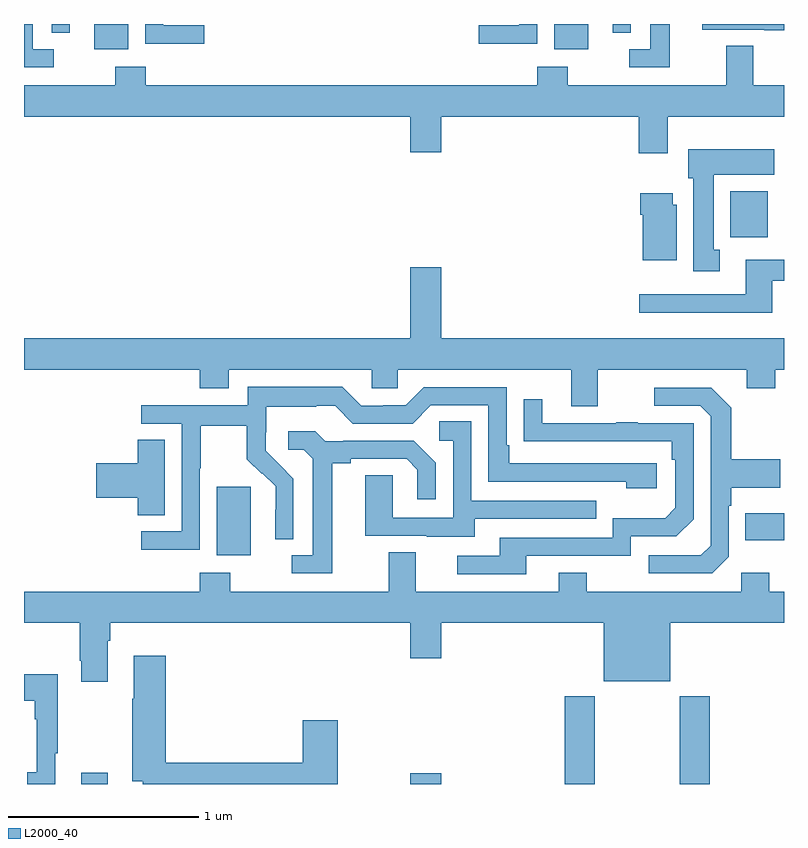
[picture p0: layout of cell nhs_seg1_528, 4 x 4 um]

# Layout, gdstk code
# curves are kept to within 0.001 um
import gdstk
lib = gdstk.Library(unit=1e-6, precision=1e-09)
def R(c, l, rs):  # rectangles x0, y0, x1, y1
    for r in rs: c.add(gdstk.rectangle(r[:2], r[2:], *l))
def P(c, l, *ps):  # polygons
    for p in ps: c.add(gdstk.Polygon(p, *l))
L2000_40 = (2000, 40)

nhs_seg1_528 = lib.new_cell('nhs_seg1_528')
R(nhs_seg1_528, L2000_40, [(139.301,568.199,139.441,568.258), (141.032,568.199,141.196,568.255), (141.845,568.199,142.005,568.66), (142.45,568.199,142.61,568.66), (140.015,569.402,140.194,569.763), (142.795,569.483,143,569.623), (142.718,571.076,142.915,571.318), (139.37,572.066,139.549,572.199), (141.791,572.066,141.97,572.199), (139.146,572.152,139.242,572.199), (142.098,572.152,142.194,572.199)])
P(nhs_seg1_528, L2000_40, [(141.702,572.199),(141.606,572.199),(141.606,572.193),(141.393,572.193),(141.393,572.095),(141.702,572.095)],
  [(139.156,572.067),(139.045,572.067),(139.045,572.199),(139,572.199),(139,571.971),(139.156,571.971)],
  [(139.948,572.193),(139.734,572.193),(139.734,572.199),(139.638,572.199),(139.638,572.095),(139.948,572.095)],
  [(142.399,572.199),(142.295,572.199),(142.295,572.067),(142.185,572.067),(142.185,571.971),(142.399,571.971)],
  [(143,572.199),(142.571,572.199),(142.571,572.169),(142.895,572.169),(142.895,572.165),(143,572.165)],
  [(142.387,571.712),(143,571.712),(143,571.876),(142.837,571.876),(142.837,572.084),(142.697,572.084),(142.697,571.876),(141.861,571.876),(141.861,571.975),(141.701,571.975),(141.701,571.876),(139.64,571.876),(139.64,571.975),(139.48,571.975),(139.48,571.876),(139,571.876),(139,571.712),(141.032,571.712),(141.032,571.524),(141.196,571.524),(141.196,571.712),(142.235,571.712),(142.235,571.518),(142.387,571.518)],
  [(142.663,571.01),(142.63,571.01),(142.63,571.406),(142.948,571.406),(142.948,571.54),(142.496,571.54),(142.496,571.386),(142.523,571.386),(142.523,570.897),(142.663,570.897)],
  [(142.435,571.248),(142.414,571.248),(142.414,571.309),(142.244,571.309),(142.244,571.196),(142.256,571.196),(142.256,570.956),(142.435,570.956)],
  [(142.939,570.849),(143,570.849),(143,570.958),(142.799,570.958),(142.799,570.777),(142.239,570.777),(142.239,570.68),(142.939,570.68)],
  [(142.021,570.38),(142.805,570.38),(142.805,570.281),(142.953,570.281),(142.953,570.38),(143,570.38),(143,570.544),(141.196,570.544),(141.196,570.919),(141.032,570.919),(141.032,570.544),(139,570.544),(139,570.38),(139.925,570.38),(139.925,570.281),(140.077,570.281),(140.077,570.38),(140.829,570.38),(140.829,570.282),(140.967,570.282),(140.967,570.38),(141.881,570.38),(141.881,570.186),(142.021,570.186)],
  [(139.926,569.86),(139.929,569.86),(139.929,570.084),(140.173,570.084),(140.173,569.909),(140.25,569.832),(140.253,569.835),(140.324,569.765),(140.324,569.642),(140.322,569.642),(140.322,569.488),(140.418,569.488),(140.418,569.806),(140.272,569.954),(140.272,570.051),(140.274,570.051),(140.274,570.185),(140.537,570.185),(140.537,570.189),(140.637,570.189),(140.73,570.096),(141.045,570.096),(141.141,570.192),(141.444,570.192),(141.444,569.79),(142.169,569.79),(142.169,569.756),(142.33,569.756),(142.33,569.886),(141.553,569.886),(141.553,569.983),(141.54,569.983),(141.54,570.288),(141.105,570.288),(141.009,570.192),(140.891,570.192),(140.891,570.189),(140.775,570.189),(140.675,570.289),(140.178,570.289),(140.178,570.192),(139.617,570.192),(139.617,570.096),(139.83,570.096),(139.83,569.529),(139.617,569.529),(139.617,569.431),(139.926,569.431)],
  [(142.71,569.394),(142.71,569.663),(142.723,569.663),(142.723,569.759),(142.979,569.759),(142.979,569.907),(142.723,569.907),(142.723,570.179),(142.617,570.285),(142.317,570.285),(142.317,570.189),(142.56,570.189),(142.614,570.135),(142.614,569.454),(142.563,569.403),(142.287,569.403),(142.287,569.307),(142.623,569.307)],
  [(141.643,569.4),(142.194,569.4),(142.194,569.502),(142.434,569.502),(142.524,569.592),(142.524,570.099),(142.229,570.099),(142.229,570.104),(142.117,570.104),(142.117,570.099),(141.727,570.099),(141.727,570.223),(141.631,570.223),(141.631,570.004),(142.408,570.003),(142.408,569.906),(142.428,569.906),(142.428,569.652),(142.375,569.599),(142.098,569.599),(142.098,569.496),(141.503,569.496),(141.503,569.4),(141.279,569.4),(141.279,569.304),(141.643,569.304)],
  [(141.373,569.595),(142.013,569.595),(142.013,569.691),(141.354,569.691),(141.354,570.107),(141.186,570.107),(141.186,570.006),(141.258,570.006),(141.258,569.601),(140.94,569.601),(140.94,569.825),(140.795,569.825),(140.795,569.505),(141.119,569.505),(141.119,569.501),(141.373,569.501)],
  [(140.623,569.888),(140.719,569.888),(140.719,569.91),(141.014,569.91),(141.071,569.853),(141.071,569.697),(141.168,569.697),(141.168,569.89),(141.052,570.006),(140.68,570.006),(140.68,570.003),(140.586,570.003),(140.534,570.055),(140.391,570.055),(140.391,569.958),(140.472,569.958),(140.519,569.911),(140.519,569.403),(140.409,569.403),(140.409,569.307),(140.623,569.307)],
  [(139.741,570.011),(139.598,570.011),(139.598,569.888),(139.38,569.888),(139.38,569.705),(139.598,569.705),(139.598,569.614),(139.741,569.614)],
  [(139.441,568.952),(139.454,568.952),(139.454,569.048),(141.032,569.048),(141.032,568.86),(141.196,568.86),(141.196,569.048),(142.052,569.048),(142.052,568.739),(142.402,568.739),(142.402,569.048),(143,569.048),(143,569.212),(142.923,569.212),(142.923,569.311),(142.776,569.311),(142.776,569.212),(141.963,569.212),(141.963,569.311),(141.815,569.311),(141.815,569.212),(141.061,569.212),(141.061,569.42),(140.921,569.42),(140.921,569.212),(140.085,569.212),(140.085,569.311),(139.925,569.311),(139.925,569.212),(139,569.212),(139,569.048),(139.294,569.048),(139.294,568.849),(139.301,568.849),(139.301,568.737),(139.441,568.737)],
  [(140.651,568.534),(140.468,568.534),(140.468,568.31),(139.745,568.31),(139.745,568.873),(139.577,568.873),(139.577,568.649),(139.57,568.649),(139.57,568.214),(139.626,568.214),(139.626,568.199),(140.651,568.199)],
  [(139.165,568.361),(139.177,568.361),(139.177,568.777),(139,568.777),(139,568.637),(139.056,568.637),(139.056,568.541),(139.068,568.541),(139.068,568.262),(139.017,568.262),(139.017,568.199),(139.165,568.199)])

lib.write_gds('nhs_seg1_528.gds')
